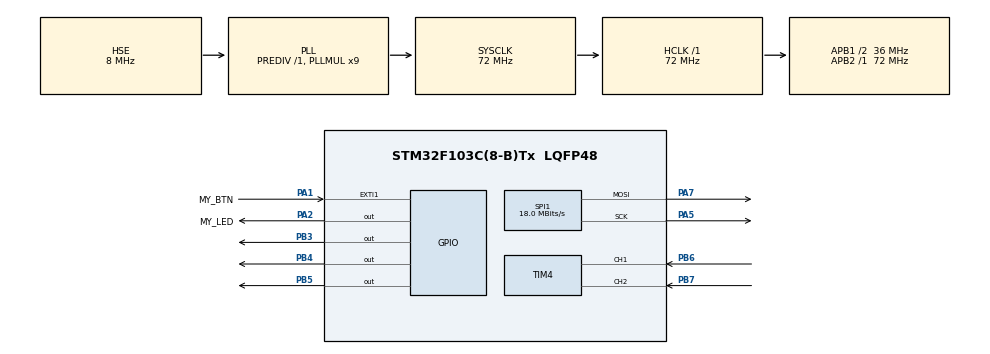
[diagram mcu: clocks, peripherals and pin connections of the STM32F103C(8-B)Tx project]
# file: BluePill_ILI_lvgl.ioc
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Mcu.Family=STM32F1
Mcu.Name=STM32F103C(8-B)Tx
Mcu.Package=LQFP48
NVIC.EXTI1_IRQn=true\:0\:0\:false\:false\:true\:true\:true
NVIC.PriorityGroup=NVIC_PRIORITYGROUP_4
NVIC.TIM4_IRQn=true\:0\:0\:false\:false\:true\:true\:true
PA1.GPIO_Label=MY_BTN
PA1.GPIO_ModeDefaultEXTI=GPIO_MODE_IT_RISING_FALLING
PA1.GPIO_PuPd=GPIO_PULLUP
PA1.Signal=GPXTI1
PA13.Mode=Serial_Wire
PA13.Signal=SYS_JTMS-SWDIO
PA14.Mode=Serial_Wire
PA14.Signal=SYS_JTCK-SWCLK
PA2.GPIO_Label=MY_LED
PA2.Signal=GPIO_Output
PA5.Mode=TX_Only_Simplex_Unidirect_Master
PA5.Signal=SPI1_SCK
PA7.Mode=TX_Only_Simplex_Unidirect_Master
PA7.Signal=SPI1_MOSI
PB3.Signal=GPIO_Output
PB4.Signal=GPIO_Output
PB5.Signal=GPIO_Output
PB6.GPIO_PuPd=GPIO_PULLUP
PB6.Signal=S_TIM4_CH1
PB7.GPIO_PuPd=GPIO_PULLUP
PB7.Signal=S_TIM4_CH2
PD0-OSC_IN.Mode=HSE-External-Oscillator
PD0-OSC_IN.Signal=RCC_OSC_IN
PD1-OSC_OUT.Mode=HSE-External-Oscillator
PD1-OSC_OUT.Signal=RCC_OSC_OUT
ProjectManager.HeapSize=0x200
ProjectManager.StackSize=0x400
ProjectManager.TargetToolchain=STM32CubeIDE
RCC.AHBFreq_Value=72000000
RCC.APB1CLKDivider=RCC_HCLK_DIV2
RCC.APB1Freq_Value=36000000
RCC.APB1TimFreq_Value=72000000
RCC.APB2Freq_Value=72000000
RCC.APB2TimFreq_Value=72000000
RCC.HCLKFreq_Value=72000000
RCC.PLLMUL=RCC_PLL_MUL9
RCC.PLLSourceVirtual=RCC_PLLSOURCE_HSE
RCC.RTCClockSelection=RCC_RTCCLKSOURCE_LSE
RCC.SYSCLKFreq_VALUE=72000000
RCC.SYSCLKSource=RCC_SYSCLKSOURCE_PLLCLK
RCC.USBFreq_Value=48000000
RCC.USBPrescaler=RCC_USBCLKSOURCE_PLL_DIV1_5
SH.S_TIM4_CH1.0=TIM4_CH1,Encoder_Interface
SH.S_TIM4_CH2.0=TIM4_CH2,Encoder_Interface
SPI1.BaudRatePrescaler=SPI_BAUDRATEPRESCALER_4
SPI1.CalculateBaudRate=18.0 MBits/s
SPI1.Direction=SPI_DIRECTION_2LINES
SPI1.Mode=SPI_MODE_MASTER
SPI1.VirtualType=VM_MASTER
TIM4.EncoderMode=TIM_ENCODERMODE_TI1
TIM4.IC1Filter=5
TIM4.IC1Polarity=TIM_ICPOLARITY_RISING
TIM4.IC1Prescaler=TIM_ICPSC_DIV8
TIM4.IC2Filter=5
TIM4.IC2Polarity=TIM_ICPOLARITY_RISING
TIM4.IC2Prescaler=TIM_ICPSC_DIV8
board=custom

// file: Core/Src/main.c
/* USER CODE BEGIN Header */
/**
  ******************************************************************************
  * @file           : main.c
  * @brief          : Main program body
  ******************************************************************************
  * @attention
  *
  * <h2><center>&copy; Copyright (c) 2020 STMicroelectronics.
  * All rights reserved.</center></h2>
  *
  * This software component is licensed by ST under Ultimate Liberty license
  * SLA0044, the "License"; You may not use this file except in compliance with
  * the License. You may obtain a copy of the License at:
  *                             www.st.com/SLA0044
  *
  ******************************************************************************
  */
/* USER CODE END Header */
#include "main.h"

/* USER CODE BEGIN Includes */
#include "ILI9341.h"

#ifdef USE_LVGL
#include "lvgl/lvgl.h"
#include "lvgl_GUI.h"
#include "lvgl_init_f103.h"
#endif

/* USER CODE END Includes */

SPI_HandleTypeDef hspi1;

TIM_HandleTypeDef htim4;

/* USER CODE BEGIN PV */
volatile uint8_t encoderBtnInterruptFlag;
extern uint8_t encBtnFlag;
extern int16_t encoderStep;

/* USER CODE END PV */

void SystemClock_Config(void);
static void MX_GPIO_Init(void);
static void MX_SPI1_Init(void);
static void MX_TIM4_Init(void);

int main(void)
{

  /* MCU Configuration--------------------------------------------------------*/

  /* Reset of all peripherals, Initializes the Flash interface and the Systick. */
  HAL_Init();

  /* Configure the system clock */
  SystemClock_Config();

  /* Initialize all configured peripherals */
  MX_GPIO_Init();
  MX_SPI1_Init();
  MX_TIM4_Init();
  /* USER CODE BEGIN 2 */
  /*---------Timer Encoder-------------*/
  HAL_TIM_Encoder_Start_IT(&htim4, TIM_CHANNEL_ALL);
  uint32_t timeCnt = 0;

#ifndef USE_LVGL
  ILI9341_Init();
    ILI9341_Set_Rotation(SCREEN_HORIZONTAL_2);
    //ILI9341_Set_Rotation(SCREEN_VERTICAL_1);
    ILI9341_Fill_Screen(RED);

#else
	  lv_init();
	  lv_lcd_init();
	  lv_encoder_init();
	  lvgl_GUI();

#endif
  /* USER CODE END 2 */

  /* Infinite loop */
  /* USER CODE BEGIN WHILE */
  while (1)
  {
	  if(timeCnt % 500 == 0) {
		  /******* 1 second interval *****/
	  }

	  if(timeCnt % 100 == 0) {
		  /******* 200 milliseconds interval *****/
		  //JK_SetEncoderText(encCounter, encBtnFlag);
	  }

	  if(timeCnt % 5 == 0) {
		  /******* 10 milliseconds interval *****/
		  lv_task_handler();
	  }

	  //debouncing encoder button for lvgl - 20 milliseconds
	  if(encoderBtnInterruptFlag && HAL_GPIO_ReadPin(GPIOA, GPIO_PIN_1) == GPIO_PIN_RESET && timeCnt % 10 == 0) {
		  encBtnFlag = 1;
		  encoderBtnInterruptFlag = 0;
	  } else if(encoderBtnInterruptFlag && HAL_GPIO_ReadPin(GPIOA, GPIO_PIN_1) == GPIO_PIN_SET && timeCnt % 10 == 0) {
		  encBtnFlag = 0;
		  encoderBtnInterruptFlag = 0;
	  }

	  HAL_Delay(1);
	  timeCnt++;
    /* USER CODE END WHILE */

  }
}

void SystemClock_Config(void)
{
  RCC_OscInitTypeDef RCC_OscInitStruct = {0};
  RCC_ClkInitTypeDef RCC_ClkInitStruct = {0};

  /** Initializes the RCC Oscillators according to the specified parameters
  * in the RCC_OscInitTypeDef structure.
  */
  RCC_OscInitStruct.OscillatorType = RCC_OSCILLATORTYPE_HSE;
  RCC_OscInitStruct.HSEState = RCC_HSE_ON;
  RCC_OscInitStruct.HSEPredivValue = RCC_HSE_PREDIV_DIV1;
  RCC_OscInitStruct.HSIState = RCC_HSI_ON;
  RCC_OscInitStruct.PLL.PLLState = RCC_PLL_ON;
  RCC_OscInitStruct.PLL.PLLSource = RCC_PLLSOURCE_HSE;
  RCC_OscInitStruct.PLL.PLLMUL = RCC_PLL_MUL9;
  if (HAL_RCC_OscConfig(&RCC_OscInitStruct) != HAL_OK)
  {
    Error_Handler();
  }
  /** Initializes the CPU, AHB and APB buses clocks
  */
  RCC_ClkInitStruct.ClockType = RCC_CLOCKTYPE_HCLK|RCC_CLOCKTYPE_SYSCLK
                              |RCC_CLOCKTYPE_PCLK1|RCC_CLOCKTYPE_PCLK2;
  RCC_ClkInitStruct.SYSCLKSource = RCC_SYSCLKSOURCE_PLLCLK;
  RCC_ClkInitStruct.AHBCLKDivider = RCC_SYSCLK_DIV1;
  RCC_ClkInitStruct.APB1CLKDivider = RCC_HCLK_DIV2;
  RCC_ClkInitStruct.APB2CLKDivider = RCC_HCLK_DIV1;

  if (HAL_RCC_ClockConfig(&RCC_ClkInitStruct, FLASH_LATENCY_2) != HAL_OK)
  {
    Error_Handler();
  }
}

static void MX_SPI1_Init(void)
{

  /* SPI1 parameter configuration*/
  hspi1.Instance = SPI1;
  hspi1.Init.Mode = SPI_MODE_MASTER;
  hspi1.Init.Direction = SPI_DIRECTION_2LINES;
  hspi1.Init.DataSize = SPI_DATASIZE_8BIT;
  hspi1.Init.CLKPolarity = SPI_POLARITY_LOW;
  hspi1.Init.CLKPhase = SPI_PHASE_1EDGE;
  hspi1.Init.NSS = SPI_NSS_SOFT;
  hspi1.Init.BaudRatePrescaler = SPI_BAUDRATEPRESCALER_4;
  hspi1.Init.FirstBit = SPI_FIRSTBIT_MSB;
  hspi1.Init.TIMode = SPI_TIMODE_DISABLE;
  hspi1.Init.CRCCalculation = SPI_CRCCALCULATION_DISABLE;
  hspi1.Init.CRCPolynomial = 10;
  if (HAL_SPI_Init(&hspi1) != HAL_OK)
  {
    Error_Handler();
  }

}

static void MX_TIM4_Init(void)
{

  TIM_Encoder_InitTypeDef sConfig = {0};
  TIM_MasterConfigTypeDef sMasterConfig = {0};

  htim4.Instance = TIM4;
  htim4.Init.Prescaler = 0;
  htim4.Init.CounterMode = TIM_COUNTERMODE_UP;
  htim4.Init.Period = 65535;
  htim4.Init.ClockDivision = TIM_CLOCKDIVISION_DIV1;
  htim4.Init.AutoReloadPreload = TIM_AUTORELOAD_PRELOAD_DISABLE;
  sConfig.EncoderMode = TIM_ENCODERMODE_TI1;
  sConfig.IC1Polarity = TIM_ICPOLARITY_RISING;
  sConfig.IC1Selection = TIM_ICSELECTION_DIRECTTI;
  sConfig.IC1Prescaler = TIM_ICPSC_DIV8;
  sConfig.IC1Filter = 5;
  sConfig.IC2Polarity = TIM_ICPOLARITY_RISING;
  sConfig.IC2Selection = TIM_ICSELECTION_DIRECTTI;
  sConfig.IC2Prescaler = TIM_ICPSC_DIV8;
  sConfig.IC2Filter = 5;
  if (HAL_TIM_Encoder_Init(&htim4, &sConfig) != HAL_OK)
  {
    Error_Handler();
  }
  sMasterConfig.MasterOutputTrigger = TIM_TRGO_RESET;
  sMasterConfig.MasterSlaveMode = TIM_MASTERSLAVEMODE_DISABLE;
  if (HAL_TIMEx_MasterConfigSynchronization(&htim4, &sMasterConfig) != HAL_OK)
  {
    Error_Handler();
  }

}

static void MX_GPIO_Init(void)
{
  GPIO_InitTypeDef GPIO_InitStruct = {0};

  /* GPIO Ports Clock Enable */
  __HAL_RCC_GPIOD_CLK_ENABLE();
  __HAL_RCC_GPIOA_CLK_ENABLE();
  __HAL_RCC_GPIOB_CLK_ENABLE();

  /*Configure GPIO pin Output Level */
  HAL_GPIO_WritePin(MY_LED_GPIO_Port, MY_LED_Pin, GPIO_PIN_RESET);

  /*Configure GPIO pin Output Level */
  HAL_GPIO_WritePin(GPIOB, GPIO_PIN_3|GPIO_PIN_4|GPIO_PIN_5, GPIO_PIN_RESET);

  /*Configure GPIO pin : MY_BTN_Pin */
  GPIO_InitStruct.Pin = MY_BTN_Pin;
  GPIO_InitStruct.Mode = GPIO_MODE_IT_RISING_FALLING;
  GPIO_InitStruct.Pull = GPIO_PULLUP;
  HAL_GPIO_Init(MY_BTN_GPIO_Port, &GPIO_InitStruct);

  /*Configure GPIO pin : MY_LED_Pin */
  GPIO_InitStruct.Pin = MY_LED_Pin;
  GPIO_InitStruct.Mode = GPIO_MODE_OUTPUT_PP;
  GPIO_InitStruct.Pull = GPIO_NOPULL;
  GPIO_InitStruct.Speed = GPIO_SPEED_FREQ_LOW;
  HAL_GPIO_Init(MY_LED_GPIO_Port, &GPIO_InitStruct);

  /*Configure GPIO pins : PB3 PB4 PB5 */
  GPIO_InitStruct.Pin = GPIO_PIN_3|GPIO_PIN_4|GPIO_PIN_5;
  GPIO_InitStruct.Mode = GPIO_MODE_OUTPUT_PP;
  GPIO_InitStruct.Pull = GPIO_NOPULL;
  GPIO_InitStruct.Speed = GPIO_SPEED_FREQ_LOW;
  HAL_GPIO_Init(GPIOB, &GPIO_InitStruct);

  /* EXTI interrupt init*/
  HAL_NVIC_SetPriority(EXTI1_IRQn, 0, 0);
  HAL_NVIC_EnableIRQ(EXTI1_IRQn);

}

/* USER CODE BEGIN 4 */
void Interrupt_EncoderChange(){

	static int16_t previousEncoderCnt = 0;

	int16_t encoderCnt = 0;

	encoderCnt = ((int16_t)__HAL_TIM_GET_COUNTER(&htim4))/2;

	if(encoderCnt > previousEncoderCnt) {
		encoderStep = 1;

	} else if(encoderCnt < previousEncoderCnt) {
		encoderStep = -1;
	} else {
		//encoderStep = 0;
	}

	previousEncoderCnt = encoderCnt;

}

void Interrupt_ButtonPressed() {
	//debouncing is in main() while() loop
	encoderBtnInterruptFlag = 1;
}

/* USER CODE END 4 */

void Error_Handler(void)
{
  __disable_irq();
  while (1)
  {
  }
}

/************************ (C) COPYRIGHT STMicroelectronics *****END OF FILE****/
